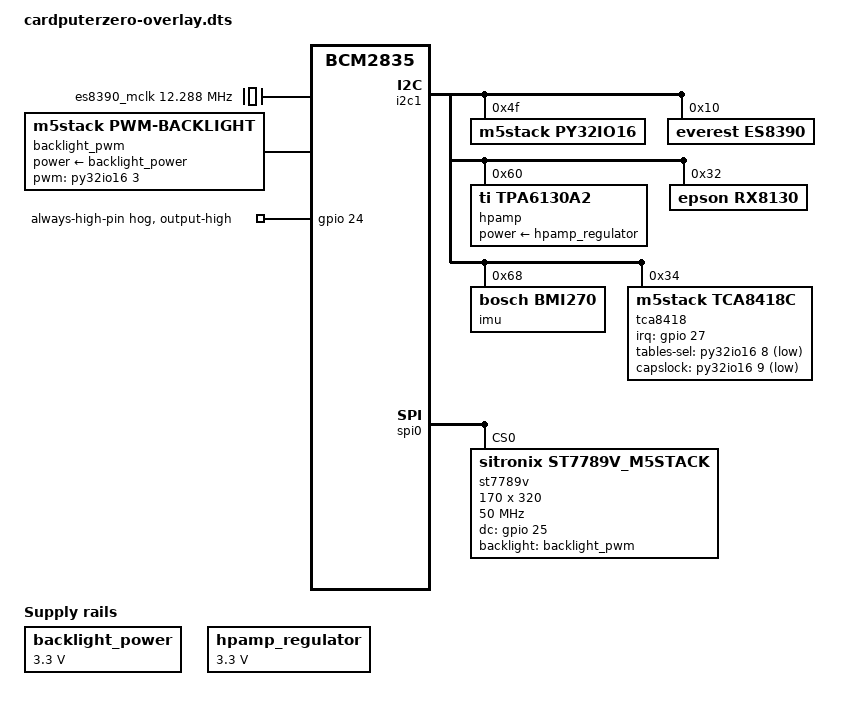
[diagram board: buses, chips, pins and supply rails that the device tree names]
// Definitions for ES8389 Audio HAT
/dts-v1/;
/plugin/;
// dtc -@ -I dts -O dtb -o es8389_m5stack.dtbo  es8389_m5stack.dts
/ {
    compatible = "brcm,bcm2835";
    
    fragment@0 {
        target = <&i2s_clk_producer>;
        __overlay__ {
            status = "okay";
        };
    };

    fragment@1 {
        target = <&gpio>;
        __overlay__ {
            st7789v_pins: st7789v_pins {
                    brcm,pins = <25>;
                    brcm,function = <1>;
                    brcm,pull = <0>;
            };
            tca8418_pins: tca8418_pins {
                    brcm,pins = <27 17 16>;
                    brcm,function = <0 1 1>;
                    brcm,pull = <2 0 0>;
            };
            spk_en_pins: spk_en_pins {
                    brcm,pins = <24>;
                    brcm,function = <1>;
                    brcm,pull = <0>;
            };
            always_high_pin: always-high {
                gpio-hog;
                gpios = <24 0>;
                output-high;
                line-name = "always-high-pin";
            };
        };
    };

    fragment@2 {
        target = <&i2c1>;
        __overlay__ {
            #address-cells = <1>;
            #size-cells = <0>;
            status = "okay";

            py32io16: gpio@4f {
                    compatible = "m5stack,py32io16";
                    reg = <0x4f>;
                    gpio-controller;
                    #gpio-cells = <2>;
                    ngpios = <16>;
                    #pwm-cells = <3>;
                    status = "okay";
            };
            es8390: es8390@10 {
                compatible = "everest,es8390";
                reg = <0x10>;
                #sound-dai-cells = <0>;
                pinctrl-names = "default";
                pinctrl-0 = <&spk_en_pins>;
                clock-names = "mclk";
                clocks = <&es8390_mclk>;
                // spk-enable-gpios = <&gpio 24 1>;
                status = "okay";
            };
			hpamp: hpamp@60 {
				compatible = "ti,tpa6130a2";
				reg = <0x60>;
                power-supply = <&hpamp_regulator>;
				status = "okay";
			};
            rx8130: rx8130@32 {
                compatible = "epson,rx8130";
                reg = <0x32>;
                status = "okay";
            };

            imu@68 {
                compatible = "bosch,bmi270";
                reg = <0x68>;
                status = "okay";
            };

            tca8418@34 {
                compatible = "m5stack,tca8418c"; 
                reg = <0x34>;
                pinctrl-names = "default";
                pinctrl-0 = <&tca8418_pins>;
                interrupt-parent = <&gpio>;
                interrupts = <27 2>; /* 中断io 下沿触发  */
                irq-gpios = <&gpio 27 0x00>; /* 中断io 下沿触发 */
                    
                keypad,num-rows = <5>;
                keypad,num-columns = <10>;

                // tables-sel-gpio = <&gpio 17 1>;
                // capslock-gpio = <&gpio 16 1>;
                tables-sel-gpio = <&py32io16 8 1>;
                capslock-gpio = <&py32io16 9 1>;


                switch-button-code = <73>; /* 切换按键 keycode */
                // interrupt-controller;
                /* row | column | key-code  例如: 04,08,0010 q 键 */
                linux,keymap = < 0x04000001 0x04040002 0x00000003 0x00010004 0x00020005 0x00030006 0x00040007 0x00050008 0x00060009 0x0007000a 0x0008000b 0x0009000e 0x0403000f 0x01000010 0x01010011 0x01020012 0x01030013 0x01040014 0x01050015 0x01060016 0x01070017 0x01080018 0x01090019 0x0401003a 0x0200001e 0x0201001f 0x02020020 0x02030021 0x02040022 0x02050023 0x02060024 0x02070025 0x02080026 0x0209001c 0x0402002a 0x0300001d 0x0301002c 0x0302002d 0x0303002e 0x0304002f 0x03050030 0x03060031 0x03070032 0x03080033 0x03090039 >;
                linux,keymap1 = < 0x04000001 0x040400b7 0x000000b8 0x000100b9 0x000200ba 0x000300bb 0x000400bc 0x000500bd 0x000600be 0x000700bf 0x000800c0 0x0009000e 0x0403000f 0x010000c1 0x010100c2 0x010200c3 0x010300c4 0x010400c5 0x010500c6 0x010600c7 0x010700c8 0x010800c9 0x010900ca 0x0401003a 0x0200001e 0x0201001f 0x02020067 0x020300cb 0x020400cc 0x020500cd 0x020600ce 0x020700cf 0x020800d0 0x0209001c 0x0402002a 0x0300001d 0x03010069 0x0302006c 0x0303006a 0x030400d1 0x030500d2 0x030600d3 0x030700d4 0x030800d5 0x03090039 >;
            };
        };
    };


    fragment@3 {
        target-path = "/";
        __overlay__ {
            es8390_mclk: es8390_mclk {
                compatible = "fixed-clock";
                #clock-cells = <0>;
                clock-frequency = <12288000>;
            };

            backlight_power: backlight-regulator {
                compatible = "regulator-fixed";
                regulator-name = "backlight-vcc";
                regulator-min-microvolt = <3300000>;
                regulator-max-microvolt = <3300000>;
                regulator-boot-on;  /* 启动时就开启 */
            };
            hpamp_regulator: hpamp-regulator {
                compatible = "regulator-fixed";
                regulator-name = "ext_3v3_out";
                regulator-min-microvolt = <3300000>;
                regulator-max-microvolt = <3300000>;
                regulator-boot-on;
            };
            backlight_pwm: backlight {
                compatible = "m5stack,pwm-backlight";
                pwms = <&py32io16 3 2000000 0>;
                
                brightness-levels = <
                    0  20000  40000  60000  80000 100000 120000 140000 160000 180000
                200000 220000 240000 260000 280000 300000 320000 340000 360000 380000
                400000 420000 440000 460000 480000 500000 520000 540000 560000 580000
                600000 620000 640000 660000 680000 700000 720000 740000 760000 780000
                800000 820000 840000 860000 880000 900000 920000 940000 960000 980000
                1000000 1020000 1040000 1060000 1080000 1100000 1120000 1140000 1160000 1180000
                1200000 1220000 1240000 1260000 1280000 1300000 1320000 1340000 1360000 1380000
                1400000 1420000 1440000 1460000 1480000 1500000 1520000 1540000 1560000 1580000
                1600000 1620000 1640000 1660000 1680000 1700000 1720000 1740000 1760000 1780000
                1800000 1820000 1840000 1860000 1880000 1900000 1920000 1940000 1960000 1980000
                2000000
                >;
                default-brightness-level = <75>;
                
                power-supply = <&backlight_power>;
                /* 强制初始化时开启背光 */
                force-enable-on-init;
            };

            sound {
                compatible = "simple-audio-card"; 
                simple-audio-card,name = "ES8388-Audio";
                status = "okay";
                
                simple-audio-card,dai-link {
                    format = "i2s";
                    bitclock-master = <&dailink0_master>;
                    frame-master = <&dailink0_master>;
                    
                    dailink0_master: cpu {
                        sound-dai = <&i2s_clk_producer>;
                    };
                    
                    dailink0_slave: codec {
                        sound-dai = <&es8390>;
                    };
                };
            };

            // sound {
            //     compatible = "simple-audio-card";
            //     simple-audio-card,name = "ES8390-HPAMP";
            //     status = "okay";
                
            //     /* 将hpamp作为辅助设备添加 */
            //     simple-audio-card,aux-devs = <&hpamp>;
                
            //     /* 音频路由配置 */
            //     simple-audio-card,widgets =
            //         "Headphone", "Headphones",
            //         "Headphone", "HP Amp";
                
            //     simple-audio-card,routing =
            //         "HP Amp", "HPOUTL",
            //         "HP Amp", "HPOUTR",
            //         "Headphones", "HP Amp";
                
            //     simple-audio-card,dai-link {
            //         format = "i2s";
            //         bitclock-master = <&dailink0_master>;
            //         frame-master = <&dailink0_master>;
                    
            //         dailink0_master: cpu {
            //             sound-dai = <&i2s_clk_producer>;
            //         };
                    
            //         dailink0_slave: codec {
            //             sound-dai = <&es8390>;
            //         };
            //     };
            // };










        };
        
    };

    fragment@4 {
        target = <&spi0>;
        __overlay__ {
            status = "okay";

            #address-cells = <1>;
            #size-cells = <0>;

            st7789v@0 {
                compatible = "sitronix,st7789v_m5stack";
                reg = <0>;
                pinctrl-names = "default";
                pinctrl-0 = <&st7789v_pins>;
                backlight = <&backlight_pwm>;


                spi-max-frequency = <50000000>;
                txbuflen = <32768>;
                
                dc-gpios = <&gpio 25 0>;
                // reset-gpios = <&py32io16 4 1>;

                ram-x-offset = <0>;
                ram-y-offset = <35>;

                buswidth = <8>;
                width = <170>;
                height = <320>;
                rotate = <90>;
                fps = <60>;
                // bgr;
                
                debug = <0>;
            };
        };
    };

    fragment@5 {
        target = <&spidev0>;
        __overlay__ {
            status = "disabled";
        };
    };

























};












